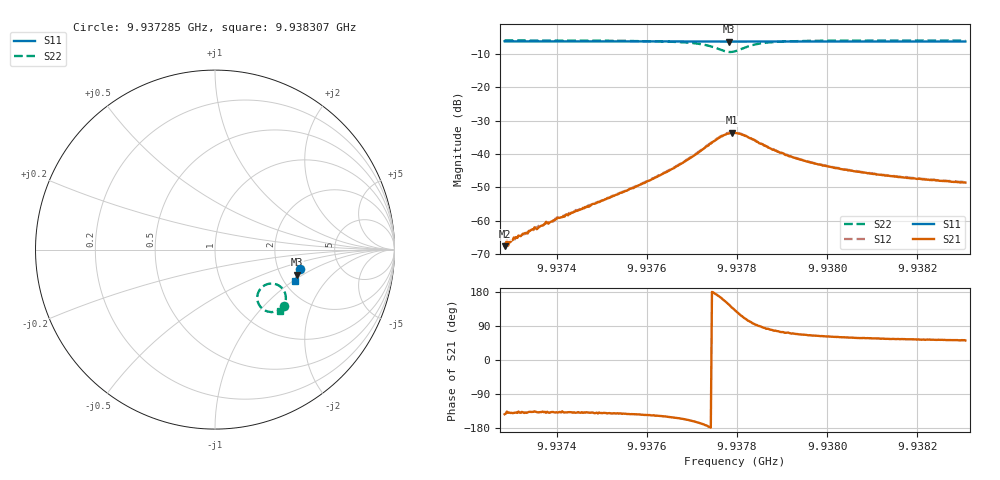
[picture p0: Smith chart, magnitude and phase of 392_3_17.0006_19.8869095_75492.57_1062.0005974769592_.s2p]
#  HZ  S  RI  R  50.00
! Rohde & Schwarz Vector Network Analyzer
! Rohde-Schwarz,ZNB20-2Port,1311601062101988,3.16
! Created: UTC 3/20/2024, 11:09:42 PM
! freq[Hz]  re:S11  im:S11  re:S21  im:S21  re:S12  im:S12  re:S22  im:S22
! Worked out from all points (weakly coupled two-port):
!   401 points, 9.937285 GHz to 9.938307 GHz, reference 50 ohm
!   highest |S21| = -33.65 dB at 9.937788 GHz (marker M1); lowest = -67.6 dB at 9.937285 GHz (marker M2)
!   lowest |S11| = -6.4 dB at 9.937783 GHz (marker M3), VSWR 2.84, Z = 123 - j44.5 ohm
!   |S11| at or under -10 dB: nowhere
!   |S22| runs from -9.5 to -6.1 dB; largest |S21 - S12| = 0.00095
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9.9372849e9  0.4716 -0.1074  -0.000334 -0.00025  -0.000349 -0.000291  0.3849 -0.3159
9.9372977e9  0.4714 -0.1083  -0.000366 -0.00031  -0.000403 -0.00035  0.3842 -0.3166
9.9373104e9  0.4711 -0.1091  -0.000428 -0.000379  -0.000443 -0.00036  0.383 -0.3176
9.9373462e9  0.4702 -0.1114  -0.000542 -0.000509  -0.000559 -0.000489  0.3803 -0.3202
9.9373896e9  0.4694 -0.1145  -0.000719 -0.000665  -0.000744 -0.000645  0.3764 -0.3234
9.9374049e9  0.4691 -0.1154  -0.00082 -0.00074  -0.000831 -0.00074  0.375 -0.3247
9.937456e9  0.468 -0.1188  -0.0011 -0.001  -0.00114 -0.00101  0.3698 -0.3289
9.9375454e9  0.4658 -0.1249  -0.00209 -0.00163  -0.00216 -0.00164  0.3573 -0.337
9.9376272e9  0.464 -0.1303  -0.00398 -0.00255  -0.00411 -0.0025  0.3373 -0.3452
9.9376808e9  0.4623 -0.134  -0.00677 -0.00308  -0.00696 -0.00301  0.3116 -0.3481
9.9377268e9  0.4607 -0.1369  -0.0118 -0.00207  -0.0121 -0.0018  0.271 -0.3347
9.93776e9  0.4592 -0.1386  -0.017 0.00345  -0.0172 0.00403  0.237 -0.2843
9.937783e9  0.4584 -0.1391  -0.0167 0.0115  -0.0168 0.0124  0.2504 -0.2221
9.9377881e9  0.4584 -0.1393  -0.0157 0.0136  -0.0156 0.0141  0.2611 -0.2103
9.9377957e9  0.4584 -0.1394  -0.0136 0.0155  -0.0132 0.0162  0.2807 -0.1969
9.9378187e9  0.4587 -0.1406  -0.00608 0.0176  -0.00562 0.018  0.3419 -0.1938
9.9378519e9  0.4588 -0.1428  0.000281 0.0143  0.000787 0.0144  0.3851 -0.2309
9.9379107e9  0.4576 -0.1471  0.00298 0.00915  0.00328 0.0092  0.3945 -0.2776
9.9379669e9  0.4565 -0.1511  0.00317 0.00664  0.00332 0.00668  0.3894 -0.2995
9.9380333e9  0.4547 -0.1556  0.00294 0.00513  0.00306 0.00514  0.3824 -0.3141
9.938138e9  0.4519 -0.1624  0.00265 0.00387  0.00275 0.00389  0.3728 -0.3282
9.9383066e9  0.4473 -0.1731  0.00232 0.00292  0.0024 0.00296  0.3603 -0.3426
